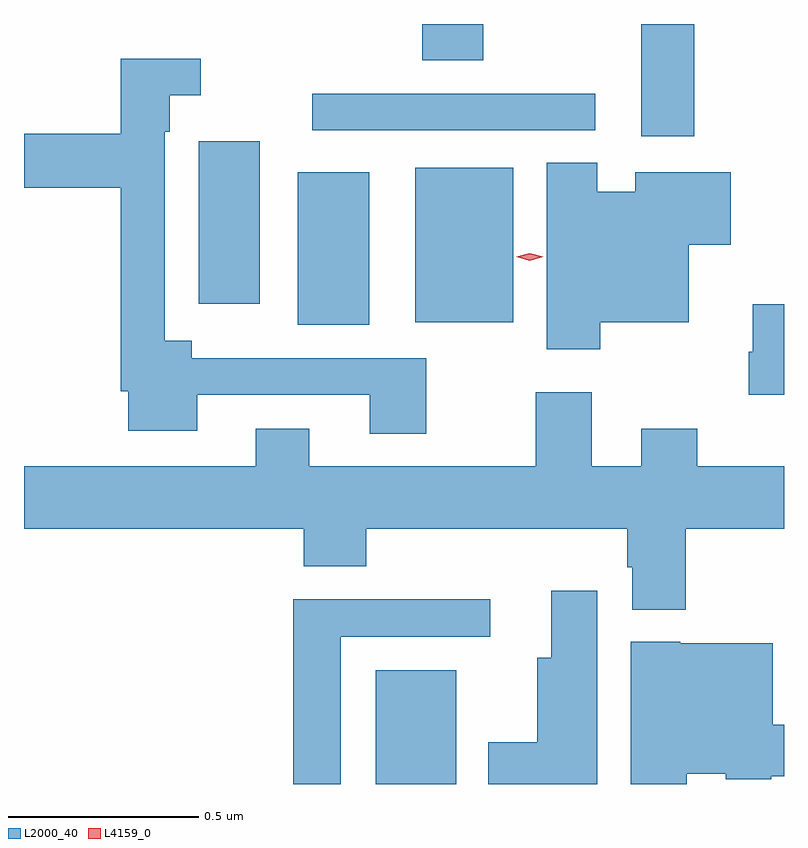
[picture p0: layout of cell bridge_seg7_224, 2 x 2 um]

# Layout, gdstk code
import gdstk
lib = gdstk.Library(unit=1e-6, precision=1e-09)
def R(c, l, rs):  # rectangles x0, y0, x1, y1
    for r in rs: c.add(gdstk.rectangle(r[:2], r[2:], *l))
def P(c, l, *ps):  # polygons
    for p in ps: c.add(gdstk.Polygon(p, *l))
L2000_40 = (2000, 40)
L4159_0 = (4159, 0)

bridge_seg7_224 = lib.new_cell('bridge_seg7_224')
R(bridge_seg7_224, L2000_40, [(360.926,998.612,361.138,998.911), (360.722,999.821,360.91,1000.222), (361.031,999.827,361.288,1000.234), (360.461,999.876,360.622,1000.303), (361.625,1000.317,361.765,1000.612), (360.759,1000.332,361.504,1000.428), (361.049,1000.517,361.209,1000.612)])
P(bridge_seg7_224, L2000_40, [(361.059,999.732),(360.442,999.732),(360.442,999.778),(360.372,999.778),(360.372,1000.328),(360.384,1000.328),(360.384,1000.425),(360.466,1000.425),(360.466,1000.521),(360.256,1000.521),(360.256,1000.323),(360.001,1000.323),(360.001,1000.181),(360.256,1000.181),(360.256,999.646),(360.275,999.646),(360.275,999.542),(360.457,999.542),(360.457,999.636),(360.911,999.636),(360.911,999.534),(361.059,999.534)],
  [(361.518,999.827),(361.75,999.827),(361.75,1000.031),(361.861,1000.031),(361.861,1000.222),(361.61,1000.222),(361.61,1000.171),(361.51,1000.171),(361.51,1000.247),(361.376,1000.247),(361.376,999.756),(361.518,999.756)],
  [(362.001,999.874),(361.919,999.874),(361.919,999.75),(361.908,999.75),(361.908,999.636),(362.001,999.636)],
  [(361.742,999.284),(362.001,999.284),(362.001,999.448),(361.773,999.448),(361.773,999.547),(361.625,999.547),(361.625,999.448),(361.495,999.448),(361.495,999.643),(361.348,999.643),(361.348,999.448),(360.751,999.448),(360.751,999.547),(360.611,999.547),(360.611,999.448),(360.001,999.448),(360.001,999.284),(360.737,999.284),(360.737,999.185),(360.902,999.185),(360.902,999.284),(361.589,999.284),(361.589,999.183),(361.601,999.183),(361.601,999.071),(361.742,999.071)],
  [(361.51,999.121),(361.388,999.121),(361.388,998.944),(361.352,998.944),(361.352,998.722),(361.223,998.722),(361.223,998.612),(361.51,998.612)],
  [(360.835,999),(361.228,999),(361.228,999.098),(360.71,999.098),(360.71,998.612),(360.835,998.612)],
  [(361.745,998.639),(361.848,998.639),(361.848,998.624),(361.968,998.624),(361.968,998.632),(362.001,998.632),(362.001,998.768),(361.972,998.768),(361.972,998.983),(361.728,998.983),(361.728,998.986),(361.598,998.986),(361.598,998.612),(361.745,998.612)])
P(bridge_seg7_224, L4159_0, [(361.332,999.989),(361.296,999.999),(361.296,1000),(361.296,1000),(361.332,1000.009),(361.368,999.999),(361.368,999.999),(361.368,999.999)])

lib.write_gds('bridge_seg7_224.gds')
